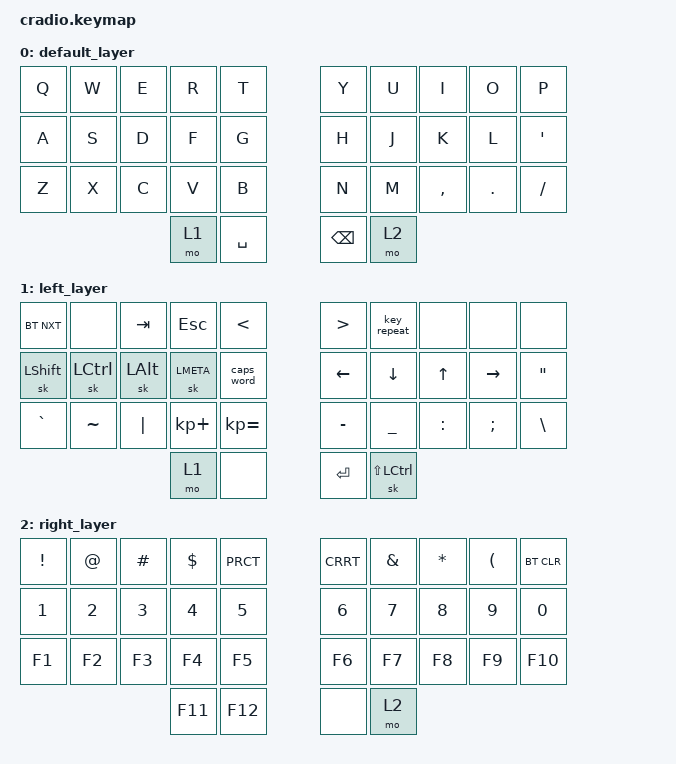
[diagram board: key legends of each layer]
/*
 * Copyright (c) 2020 The ZMK Contributors
 *
 * SPDX-License-Identifier: MIT
 */

#include <behaviors.dtsi>
#include <dt-bindings/zmk/keys.h>
#include <dt-bindings/zmk/bt.h>


&mt {
    //  flavor = "tap-preferred";
    // tapping_term_ms = <200>;
};

&sk {
    release-after-ms = <5000>;
    quick-release;
    ignore-modifiers;
};

/ {

    combos {
        compatible = "zmk,combos";

        combo_left_brace {
            timeout-ms = <100>;
            key-positions = <3 4>;
            bindings = <&kp LEFT_BRACE>;
        };

        combo_right_brace {
            timeout-ms = <100>;
            key-positions = <5 6>;
            bindings = <&kp RIGHT_BRACE>;
        };

        combo_left_parens {
            timeout-ms = <100>;
            key-positions = <13 14>;
            bindings = <&kp KP_LPAR>;
        };

        combo_right_parens {
            timeout-ms = <100>;
            key-positions = <15 16>;
            bindings = <&kp KP_RPAR>;
        };

        combo_left_bracket {
            timeout-ms = <100>;
            key-positions = <23 24>;
            bindings = <&kp LEFT_BRACKET>;
        };

        combo_right_bracket {
            timeout-ms = <100>;
            key-positions = <25 26>;
            bindings = <&kp RIGHT_BRACKET>;
        };

    };

    keymap {
        compatible = "zmk,keymap";

        default_layer {
            bindings = <
            &kp Q &kp W &kp E &kp R &kp T       &kp Y    &kp U &kp I    &kp O   &kp P
            &kp A &kp S &kp D &kp F &kp G       &kp H    &kp J &kp K    &kp L   &kp SQT
            &kp Z &kp X &kp C &kp V &kp B       &kp N    &kp M &kp CMMA &kp DOT &kp SLASH
                              &mo 1 &kp SPC     &kp BKSP &mo 2
            >;
        };

        left_layer {
            bindings = <
            &bt BT_NXT &none     &kp TAB   &kp ESC     &kp LT            &kp GT    &key_repeat &none      &none         &none
            &sk LSHIFT &sk LCTRL &sk LALT  &sk LMETA   &caps_word        &kp LEFT  &kp DOWN    &kp UP     &kp RIGHT     &kp DOUBLE_QUOTES
            &kp GRAVE  &kp TILDE &kp PIPE  &kp KP_PLUS &kp KP_EQUAL      &kp MINUS &kp UNDER   &kp COLON  &kp SEMICOLON &kp BSLH
                                           &mo 1       &none             &kp ENTER &sk LS(LCTRL)
            >;
        };

        right_layer {
            bindings = <
            &kp EXCL  &kp AT    &kp HASH  &kp DLLR  &kp PRCT        &kp CRRT  &kp AMPS  &kp STAR  &kp LPAR  &bt BT_CLR
            &kp NUM_1 &kp NUM_2 &kp NUM_3 &kp NUM_4 &kp NUM_5       &kp NUM_6 &kp NUM_7 &kp NUM_8 &kp NUM_9 &kp NUM_0
            &kp F1    &kp F2    &kp F3    &kp F4    &kp F5          &kp F6    &kp F7    &kp F8    &kp F9    &kp F10
                                          &kp F11   &kp F12         &none     &mo 2
            >;
        };
    };
};
